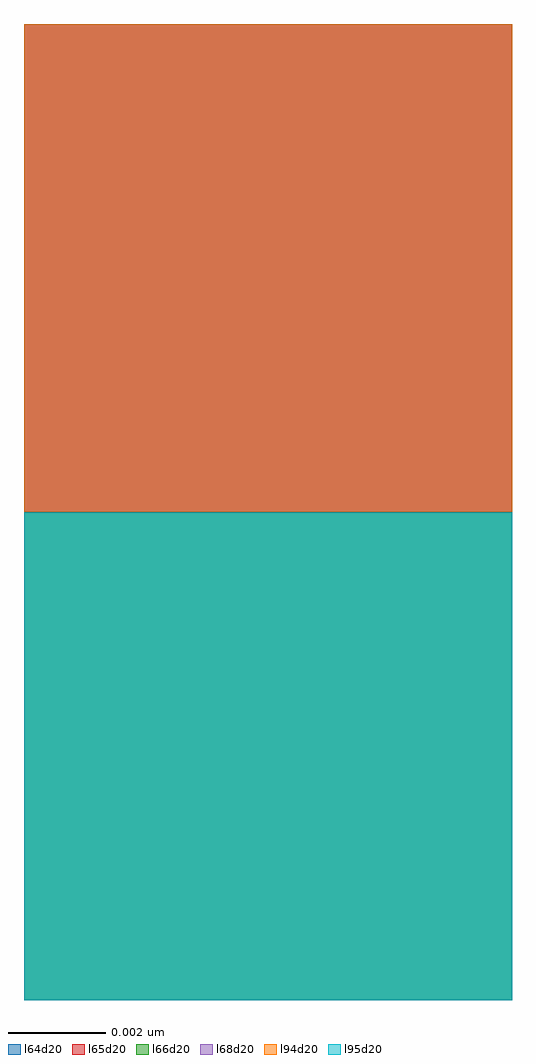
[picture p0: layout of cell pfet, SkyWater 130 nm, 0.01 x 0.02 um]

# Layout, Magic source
magic
tech sky130
<< l67d20 >>
<< l68d20 >>
rect 0 0 1 1
<< l67d44 >>
<< l65d20 >>
rect 0 0 1 1
<< l66d44 >>
<< l66d20 >>
rect 0 -1 1 0
<< l95d20 >>
rect 0 -1 1 0
<< l65d44 >>
<< l94d20 >>
rect 0 0 1 1
<< l93d44 >>
<< l64d20 >>
rect 0 -1 1 1
<< end >>
